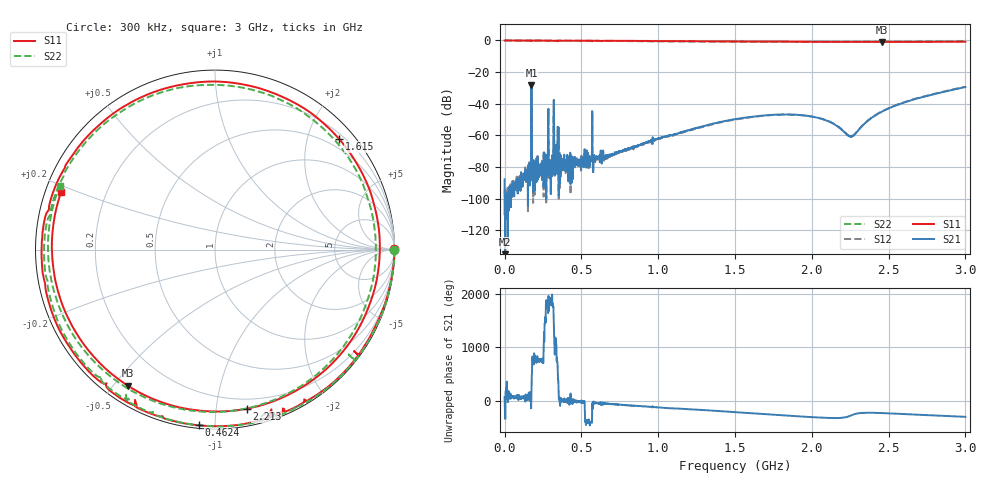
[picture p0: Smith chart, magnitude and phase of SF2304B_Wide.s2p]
!Agilent Technologies,N5230A,US44240068,A.07.50.67
!Agilent N5230A: A.07.50.67
!Date: Wednesday, November 10, 2021 18:21:32
!Correction: S11(Full 2 Port(1,2))
!S21(Full 2 Port(1,2))
!S12(Full 2 Port(1,2))
!S22(Full 2 Port(1,2))
!S2P File: Measurements: S11, S21, S12, S22:
# Hz S  dB  R 50
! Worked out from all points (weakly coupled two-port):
!   3201 points, 300 kHz to 3 GHz, reference 50 ohm
!   highest |S21| = -28.04 dB at 174.7 MHz (marker M1); lowest = -137.5 dB at 4.05 MHz (marker M2)
!   lowest |S11| = -0.9 dB at 2.455 GHz (marker M3), VSWR 19.04, Z = 3.41 - j27.2 ohm
!   |S11| at or under -10 dB: nowhere
!   |S22| runs from -1.0 to 0.0 dB; largest |S21 - S12| = 0.0036
!   S11 on the Smith chart (normalised r, x): 300 kHz: open; 462.4 MHz: 0.02, -0.91; 1.615 GHz: 0.30, +2.59; 2.213 GHz: 0.12, -1.21; 3 GHz: 0.05, +0.18
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300000  -0.01 0.0  -87.80 73.8  -94.10 21.5  -0.01 0.0
4049625  -0.00 -0.8  -137.49 23.8  -102.89 3.9  -0.00 -0.9
1.577842e8  -0.08 -32.9  -82.39 157.0  -82.84 152.5  -0.04 -34.8
1.746576e8  -0.36 -36.1  -28.04 126.7  -27.46 123.5  -0.48 -38.1
1.962179e8  -0.08 -40.8  -77.63 -5.5  -76.84 -9.8  -0.05 -43.1
2.721478e8  -0.11 -56.7  -75.90 -9.9  -75.67 -16.4  -0.07 -59.6
3.030822e8  -0.13 -63.0  -78.68 104.1  -77.86 102.2  -0.08 -66.1
3.330792e8  -0.18 -68.8  -77.77 89.0  -76.64 85.6  -0.13 -72.2
3.668258e8  -0.14 -75.6  -73.02 50.5  -72.50 46.1  -0.10 -79.1
4.624413e8  -0.15 -95.1  -76.98 -16.0  -77.21 -21.0  -0.15 -98.8
5.008749e8  -0.15 -102.9  -73.30 11.9  -72.86 6.6  -0.17 -106.5
7.642861e8  -0.22 -155.2  -69.66 -73.6  -70.35 -76.3  -0.34 -156.4
1.000512e9  -0.38 159.3  -61.84 -117.6  -62.38 -119.8  -0.52 161.3
1.262049e9  -0.53 109.8  -54.97 -163.5  -55.26 -162.7  -0.65 114.2
1.50015e9  -0.63 64.3  -49.75 152.4  -50.02 153.3  -0.80 69.0
1.614514e9  -0.66 41.7  -48.17 130.8  -48.39 132.0  -0.87 46.0
2.000725e9  -0.80 -36.8  -48.08 59.1  -48.08 61.0  -0.96 -35.4
2.212579e9  -0.88 -78.8  -57.97 52.2  -57.86 53.6  -0.89 -78.9
2.266948e9  -0.89 -89.1  -60.36 104.0  -60.25 105.0  -0.87 -89.4
2.455367e9  -0.91 -122.7  -45.05 135.0  -44.84 136.0  -0.78 -123.4
2.500362e9  -0.91 -130.1  -42.92 129.6  -42.71 130.5  -0.76 -130.9
3e9  -0.77 159.5  -29.45 64.9  -29.22 64.8  -0.58 157.7
